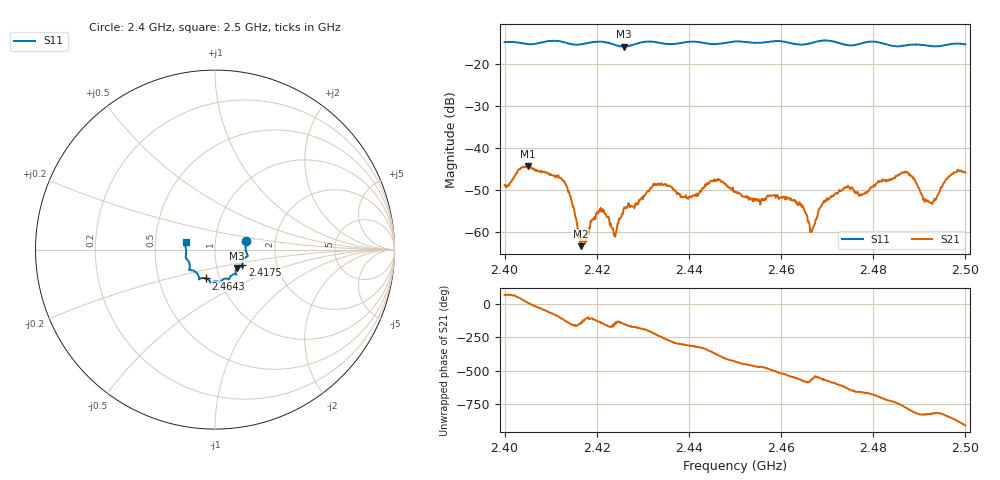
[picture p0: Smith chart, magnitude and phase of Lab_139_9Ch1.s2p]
# Hz S RI R 50
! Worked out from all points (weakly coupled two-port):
!   601 points, 2.4 GHz to 2.5 GHz, reference 50 ohm
!   highest |S21| = -44.30 dB at 2.405 GHz (marker M1); lowest = -63.3 dB at 2.4165 GHz (marker M2)
!   lowest |S11| = -15.9 dB at 2.4258 GHz (marker M3), VSWR 1.38, Z = 62.3 - j13.2 ohm
!   |S11| at or under -10 dB: start of sweep to end of sweep
!   S12 and S22 are empty: the file has one direction only
!   S11 on the Smith chart (normalised r, x): 2.4 GHz: 1.41, +0.14; 2.4175 GHz: 1.33, -0.23; 2.4643 GHz: 0.86, -0.28; 2.5 GHz: 0.72, +0.06
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2.4e9  0.1733 0.049  0.00129 0.00336  0 0  0 0
2.405e9  0.1702 0.0146  0.00597 0.00123  0 0  0 0
2.412833e9  0.1758 -0.0399  -0.00189 -0.0035  0 0  0 0
2.4165e9  0.1531 -0.0722  -0.000538 -0.000418  0 0  0 0
2.416667e9  0.1528 -0.074  -0.000602 -0.000551  0 0  0 0
2.4175e9  0.1516 -0.0837  -0.000269 -0.000684  0 0  0 0
2.420333e9  0.1546 -0.0979  -0.00108 -0.00128  0 0  0 0
2.423833e9  0.139 -0.094  -0.000772 -0.000461  0 0  0 0
2.425833e9  0.1218 -0.1032  -0.0016 -0.00099  0 0  0 0
2.433333e9  0.1135 -0.1371  -0.00193 0.00309  0 0  0 0
2.439333e9  0.0797 -0.1615  0.00171 0.00214  0 0  0 0
2.446e9  0.0474 -0.1642  0.00386 -0.00132  0 0  0 0
2.45e9  0.0288 -0.1813  0.000913 -0.00283  0 0  0 0
2.464333e9  -0.0499 -0.1607  -0.00188 0.00106  0 0  0 0
2.466667e9  -0.0762 -0.1589  -0.00092 0.000417  0 0  0 0
2.468833e9  -0.0882 -0.1654  -0.00194 0.000775  0 0  0 0
2.472167e9  -0.0887 -0.1554  -0.00133 0.00253  0 0  0 0
2.483333e9  -0.1405 -0.0897  0.00406 -0.000344  0 0  0 0
2.487333e9  -0.1571 -0.0532  0.00235 -0.00461  0 0  0 0
2.4925e9  -0.1608 -0.0199  -0.000769 -0.00206  0 0  0 0
2.496667e9  -0.1684 0.0256  -0.00307 -0.00353  0 0  0 0
2.5e9  -0.1639 0.0426  -0.00494 0.00111  0 0  0 0
